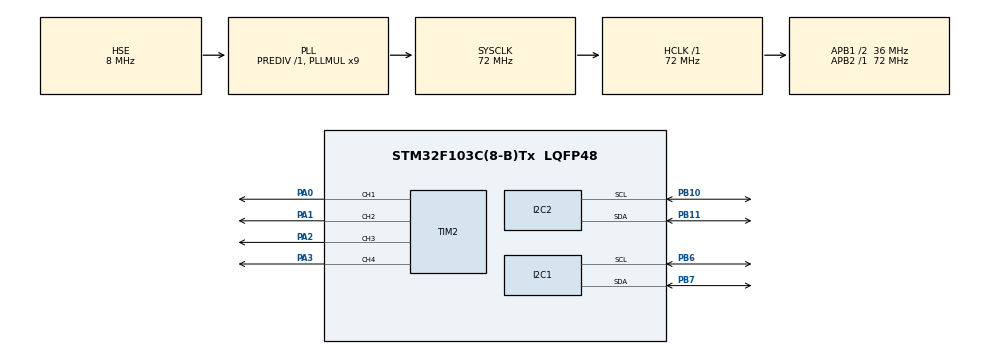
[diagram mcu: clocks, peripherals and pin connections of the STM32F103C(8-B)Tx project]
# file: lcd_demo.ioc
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Mcu.Family=STM32F1
Mcu.Name=STM32F103C(8-B)Tx
Mcu.Package=LQFP48
NVIC.PriorityGroup=NVIC_PRIORITYGROUP_4
PA0-WKUP.Signal=S_TIM2_CH1_ETR
PA1.Signal=S_TIM2_CH2
PA2.Signal=S_TIM2_CH3
PA3.Signal=S_TIM2_CH4
PB10.Mode=I2C
PB10.Signal=I2C2_SCL
PB11.Mode=I2C
PB11.Signal=I2C2_SDA
PB6.Mode=I2C
PB6.Signal=I2C1_SCL
PB7.Mode=I2C
PB7.Signal=I2C1_SDA
PD0-OSC_IN.Mode=HSE-External-Oscillator
PD0-OSC_IN.Signal=RCC_OSC_IN
PD1-OSC_OUT.Mode=HSE-External-Oscillator
PD1-OSC_OUT.Signal=RCC_OSC_OUT
ProjectManager.HeapSize=0x200
ProjectManager.StackSize=0x400
ProjectManager.TargetToolchain=STM32CubeIDE
RCC.AHBFreq_Value=72000000
RCC.APB1CLKDivider=RCC_HCLK_DIV2
RCC.APB1Freq_Value=36000000
RCC.APB1TimFreq_Value=72000000
RCC.APB2Freq_Value=72000000
RCC.APB2TimFreq_Value=72000000
RCC.HCLKFreq_Value=72000000
RCC.PLLMUL=RCC_PLL_MUL9
RCC.PLLSourceVirtual=RCC_PLLSOURCE_HSE
RCC.SYSCLKFreq_VALUE=72000000
RCC.SYSCLKSource=RCC_SYSCLKSOURCE_PLLCLK
RCC.USBFreq_Value=72000000
SH.S_TIM2_CH1_ETR.0=TIM2_CH1,PWM Generation1 CH1
SH.S_TIM2_CH2.0=TIM2_CH2,PWM Generation2 CH2
SH.S_TIM2_CH3.0=TIM2_CH3,PWM Generation3 CH3
SH.S_TIM2_CH4.0=TIM2_CH4,PWM Generation4 CH4
TIM2.AutoReloadPreload=TIM_AUTORELOAD_PRELOAD_ENABLE
TIM2.Channel-PWM\ Generation1\ CH1=TIM_CHANNEL_1
TIM2.Channel-PWM\ Generation2\ CH2=TIM_CHANNEL_2
TIM2.Channel-PWM\ Generation3\ CH3=TIM_CHANNEL_3
TIM2.Channel-PWM\ Generation4\ CH4=TIM_CHANNEL_4
VP_TIM2_VS_ClockSourceINT.Mode=Internal
board=custom

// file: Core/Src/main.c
/* USER CODE BEGIN Header */
/**
  ******************************************************************************
  * @file           : main.c
  * @brief          : Main program body
  ******************************************************************************
  * @attention
  *
  * Copyright (c) 2022 STMicroelectronics.
  * All rights reserved.
  *
  * This software is licensed under terms that can be found in the LICENSE file
  * in the root directory of this software component.
  * If no LICENSE file comes with this software, it is provided AS-IS.
  *
  ******************************************************************************
  */
/* USER CODE END Header */
#include "main.h"

/* USER CODE BEGIN Includes */
#include "liquidcrystal_i2c.h"
#include "stdio.h"
/* USER CODE END Includes */

I2C_HandleTypeDef hi2c1;
I2C_HandleTypeDef hi2c2;

TIM_HandleTypeDef htim2;

void SystemClock_Config(void);
static void MX_GPIO_Init(void);
static void MX_I2C1_Init(void);
static void MX_I2C2_Init(void);
static void MX_TIM2_Init(void);

/* USER CODE BEGIN 0 */
#define MPU6050_ADDR 0xD0

#define SMPLRT_DIV_REG 0x19
#define GYRO_CONFIG_REG 0x1B
#define ACCEL_CONFIG_REG 0x1C
#define ACCEL_XOUT_H_REG 0x3B
#define TEMP_OUT_H_REG 0x41
#define GYRO_XOUT_H_REG 0x43
#define PWR_MGMT_1_REG 0x6B
#define WHO_AM_I_REG 0x75

int16_t uranus = 0;

int16_t Accel_X_RAW = 0;
int16_t Accel_Y_RAW = 0;
int16_t Accel_Z_RAW = 0;

int16_t Gyro_X_RAW = 0;
int16_t Gyro_Y_RAW = 0;
int16_t Gyro_Z_RAW = 0;

float Ax, Ay, Az, Gx, Gy, Gz;

void MPU6050_Init (void)
{
	uint8_t check;
	uint8_t Data;

	// check device ID WHO_AM_I

	HAL_I2C_Mem_Read (&hi2c2, MPU6050_ADDR,WHO_AM_I_REG,1, &check, 1, 1000);

	if (check == 104)  // 0x68 will be returned by the sensor if everything goes well
	{
		// power management register 0X6B we should write all 0's to wake the sensor up
		Data = 0;
		HAL_I2C_Mem_Write(&hi2c2, MPU6050_ADDR, PWR_MGMT_1_REG, 1,&Data, 1, 1000);

		// Set DATA RATE of 1KHz by writing SMPLRT_DIV register
		Data = 0x07;
		HAL_I2C_Mem_Write(&hi2c2, MPU6050_ADDR, SMPLRT_DIV_REG, 1, &Data, 1, 1000);

		// Set accelerometer configuration in ACCEL_CONFIG Register
		// XA_ST=0,YA_ST=0,ZA_ST=0, FS_SEL=0 -> ± 2g
		Data = 0x00;
		HAL_I2C_Mem_Write(&hi2c2, MPU6050_ADDR, ACCEL_CONFIG_REG, 1, &Data, 1, 1000);

		// Set Gyroscopic configuration in GYRO_CONFIG Register
		// XG_ST=0,YG_ST=0,ZG_ST=0, FS_SEL=0 -> ± 250 °/s
		Data = 0x00;
		HAL_I2C_Mem_Write(&hi2c2, MPU6050_ADDR, GYRO_CONFIG_REG, 1, &Data, 1, 1000);
	}

}

void MPU6050_Read_Accel (void)
{
	uint8_t Rec_Data[6];

	// Read 6 BYTES of data starting from ACCEL_XOUT_H register

	HAL_I2C_Mem_Read (&hi2c2, MPU6050_ADDR, ACCEL_XOUT_H_REG, 1, Rec_Data, 6, 1000);

	Accel_X_RAW = (int16_t)(Rec_Data[0] << 8 | Rec_Data [1]);
	Accel_Y_RAW = (int16_t)(Rec_Data[2] << 8 | Rec_Data [3]);
	Accel_Z_RAW = (int16_t)(Rec_Data[4] << 8 | Rec_Data [5]);

	/*** convert the RAW values into acceleration in 'g'
	     we have to divide according to the Full scale value set in FS_SEL
	     I have configured FS_SEL = 0. So I am dividing by 16384.0
	     for more details check ACCEL_CONFIG Register              ****/

	Ax = Accel_X_RAW/16384.0;
	Ay = Accel_Y_RAW/16384.0;
	Az = Accel_Z_RAW/16384.0;
}

void MPU6050_Read_Gyro (void)
{
	uint8_t Rec_Data[6];

	// Read 6 BYTES of data starting from GYRO_XOUT_H register

	HAL_I2C_Mem_Read (&hi2c2, MPU6050_ADDR, GYRO_XOUT_H_REG, 1, Rec_Data, 6, 1000);

	Gyro_X_RAW = (int16_t)(Rec_Data[0] << 8 | Rec_Data [1]);
	Gyro_Y_RAW = (int16_t)(Rec_Data[2] << 8 | Rec_Data [3]);
	Gyro_Z_RAW = (int16_t)(Rec_Data[4] << 8 | Rec_Data [5]);

	/*** convert the RAW values into dps (°/s)
	     we have to divide according to the Full scale value set in FS_SEL
	     I have configured FS_SEL = 0. So I am dividing by 131.0
	     for more details check GYRO_CONFIG Register              ****/

	Gx = Gyro_X_RAW/131.0;
	Gy = Gyro_Y_RAW/131.0;
	Gz = Gyro_Z_RAW/131.0;
}
/* USER CODE END 0 */

int main(void)
{
  /* USER CODE BEGIN 1 */

  int32_t CH1_DC = 0;
  int32_t CH2_DC = 0;
  int32_t CH3_DC = 0;
  int32_t CH4_DC = 0;
  int32_t quar_const = 16383;
  int32_t final_pwm = 0;
  char snum[5];
  float sinatra = -1;
  /* USER CODE END 1 */

  /* MCU Configuration--------------------------------------------------------*/

  /* Reset of all peripherals, Initializes the Flash interface and the Systick. */
  HAL_Init();

  /* Configure the system clock */
  SystemClock_Config();

  /* Initialize all configured peripherals */
  MX_GPIO_Init();
  MX_I2C1_Init();
  MX_I2C2_Init();
  MX_TIM2_Init();
  /* USER CODE BEGIN 2 */
  HAL_TIM_PWM_Start(&htim2, TIM_CHANNEL_1);
  HAL_TIM_PWM_Start(&htim2, TIM_CHANNEL_2);
  HAL_TIM_PWM_Start(&htim2, TIM_CHANNEL_3);
  HAL_TIM_PWM_Start(&htim2, TIM_CHANNEL_4);
  HD44780_Init(2);
  MPU6050_Init();
  /*
  HD44780_Clear();
  HD44780_SetCursor(0,0);
  HD44780_PrintStr("HELLO");
  HD44780_SetCursor(10,1);
  HD44780_PrintStr("WORLD");
  HAL_Delay(2000);

  HD44780_Clear();
  HD44780_SetCursor(0,0);
  HD44780_PrintStr("HELLO");
  HAL_Delay(2000);
  HD44780_NoBacklight();
  HAL_Delay(2000);
  HD44780_Backlight();

  HAL_Delay(2000);
  HD44780_Cursor();
  HAL_Delay(2000);
  HD44780_Blink();
  HAL_Delay(5000);
  HD44780_NoBlink();
  HAL_Delay(2000);
  HD44780_NoCursor();
  HAL_Delay(2000);

  HD44780_NoDisplay();
  HAL_Delay(2000);
  HD44780_Display();

  HD44780_Clear();
  HD44780_SetCursor(0,0);
  HD44780_PrintStr("Done");
  */
  /*
  int x;
  for(int x=0; x<40; x=x+1)
  {
    HD44780_ScrollDisplayLeft();  //HD44780_ScrollDisplayRight();
    HAL_Delay(500);
  }

  for ( int x = 1; x <= 200 ; x++ )
  {
    itoa(x, snum, 10);
    HD44780_Clear();
    HD44780_SetCursor(0,0);
    HD44780_PrintStr(snum);
    HAL_Delay (1000);
  }
  */
  /* USER CODE END 2 */

  /* Infinite loop */
  while (1)
  {

    /* USER CODE BEGIN 3 */
	  // read the Accelerometer and Gyro values

	  MPU6050_Read_Accel();
	  MPU6050_Read_Gyro();

	  HD44780_Clear();

	  /*

	  HD44780_SetCursor(0,0);
	  snprintf(snum, 7, "%.2f", Ax);
	  HD44780_PrintStr(snum);

	  HD44780_SetCursor(5,0);
	  snprintf(snum, 7, "%.2f", Ay);
	  HD44780_PrintStr(snum);

	  HD44780_SetCursor(11,0);
	  snprintf(snum, 7, "%.2f", Az);
	  HD44780_PrintStr(snum);

	  */

	  HD44780_SetCursor(0,1);
	  snprintf(snum, 7, "%d", ((32767 + ((Accel_X_RAW - Accel_Y_RAW) * 4))));
	  HD44780_PrintStr(snum);

	  HD44780_SetCursor(8,1);
	  snprintf(snum, 7, "%d", Accel_Y_RAW);
	  HD44780_PrintStr(snum);

	  HAL_Delay(20);
	  /*

	  HD44780_SetCursor(0,1);
	  snprintf(snum, 7, "%.2f", Gx);
	  HD44780_PrintStr(snum);

	  HD44780_SetCursor(5,1);
	  snprintf(snum, 7, "%.2f", Gy);
	  HD44780_PrintStr(snum);

	  HD44780_SetCursor(11,1);
	  snprintf(snum, 7, "%.2f", Gz);
	  HD44780_PrintStr(snum);

	*/

	  TIM2->CCR1 = (32767 + ((Accel_X_RAW - Accel_Y_RAW) * 4));

	  TIM2->CCR2 = (32767 + ((-Accel_X_RAW - Accel_Y_RAW) * 4));

	  TIM2->CCR3 = (32767 + ((Accel_X_RAW + Accel_Y_RAW) * 4));

	  TIM2->CCR4 = (32767 + ((-Accel_X_RAW + Accel_Y_RAW) * 4));

	  /*

      while(sinatra < 1)
      {
    	  TIM2->CCR1 = (32676 + (sinatra * 32676));
          TIM2->CCR2 = CH1_DC;
          TIM2->CCR3 = CH1_DC;
          TIM2->CCR4 = CH1_DC;
          sinatra += .001;
          //HAL_Delay(1);
      }
      while(sinatra > -1)
      {
    	  TIM2->CCR1 = (32676 + (sinatra * 32676));
    	  TIM2->CCR2 = CH1_DC;
    	  TIM2->CCR3 = CH1_DC;
    	  TIM2->CCR4 = CH1_DC;
          CH1_DC -= .001;
          //HAL_Delay(1);
      }

		*/

	  // print the Acceleration and Gyro values on the LCD 20x4
	  /* KNOCKOUT
	  lcd_send_cmd (0x80|0x00);  // goto 1,1
	  lcd_send_string ("Ax=");
	  sprintf (buf, "%.2f", Ax);
	  lcd_send_string (buf);
	  lcd_send_string ("g ");

	  lcd_send_cmd (0x80|0x40);  // goto 2,1
	  lcd_send_string ("Ay=");
	  sprintf (buf, "%.2f", Ay);
	  lcd_send_string (buf);
	  lcd_send_string ("g ");

	  lcd_send_cmd (0x80|0x14);  // goto 3,1
	  lcd_send_string ("Az=");
	  sprintf (buf, "%.2f", Az);
	  lcd_send_string (buf);
	  lcd_send_string ("g ");

	  lcd_send_cmd (0x80|0x0A);  // goto 1,11
	  lcd_send_string ("Gx=");
	  sprintf (buf, "%.2f", Gx);
	  lcd_send_string (buf);

	  lcd_send_cmd (0x80|0x4A);  // goto 2,11
	  lcd_send_string ("Gy=");
	  sprintf (buf, "%.2f", Gy);
	  lcd_send_string (buf);

	  lcd_send_cmd (0x80|0x1E);  // goto 3,11
	  lcd_send_string ("Gz=");
	  sprintf (buf, "%.2f", Gz);
	  lcd_send_string (buf);

	  HAL_Delay (250);  // wait for a while
	  KNOCKOUT */
  }
  /* USER CODE END 3 */
}

void SystemClock_Config(void)
{
  RCC_OscInitTypeDef RCC_OscInitStruct = {0};
  RCC_ClkInitTypeDef RCC_ClkInitStruct = {0};

  /** Initializes the RCC Oscillators according to the specified parameters
  * in the RCC_OscInitTypeDef structure.
  */
  RCC_OscInitStruct.OscillatorType = RCC_OSCILLATORTYPE_HSE;
  RCC_OscInitStruct.HSEState = RCC_HSE_ON;
  RCC_OscInitStruct.HSEPredivValue = RCC_HSE_PREDIV_DIV1;
  RCC_OscInitStruct.HSIState = RCC_HSI_ON;
  RCC_OscInitStruct.PLL.PLLState = RCC_PLL_ON;
  RCC_OscInitStruct.PLL.PLLSource = RCC_PLLSOURCE_HSE;
  RCC_OscInitStruct.PLL.PLLMUL = RCC_PLL_MUL9;
  if (HAL_RCC_OscConfig(&RCC_OscInitStruct) != HAL_OK)
  {
    Error_Handler();
  }

  /** Initializes the CPU, AHB and APB buses clocks
  */
  RCC_ClkInitStruct.ClockType = RCC_CLOCKTYPE_HCLK|RCC_CLOCKTYPE_SYSCLK
                              |RCC_CLOCKTYPE_PCLK1|RCC_CLOCKTYPE_PCLK2;
  RCC_ClkInitStruct.SYSCLKSource = RCC_SYSCLKSOURCE_PLLCLK;
  RCC_ClkInitStruct.AHBCLKDivider = RCC_SYSCLK_DIV1;
  RCC_ClkInitStruct.APB1CLKDivider = RCC_HCLK_DIV2;
  RCC_ClkInitStruct.APB2CLKDivider = RCC_HCLK_DIV1;

  if (HAL_RCC_ClockConfig(&RCC_ClkInitStruct, FLASH_LATENCY_2) != HAL_OK)
  {
    Error_Handler();
  }
}

static void MX_I2C1_Init(void)
{

  hi2c1.Instance = I2C1;
  hi2c1.Init.ClockSpeed = 100000;
  hi2c1.Init.DutyCycle = I2C_DUTYCYCLE_2;
  hi2c1.Init.OwnAddress1 = 0;
  hi2c1.Init.AddressingMode = I2C_ADDRESSINGMODE_7BIT;
  hi2c1.Init.DualAddressMode = I2C_DUALADDRESS_DISABLE;
  hi2c1.Init.OwnAddress2 = 0;
  hi2c1.Init.GeneralCallMode = I2C_GENERALCALL_DISABLE;
  hi2c1.Init.NoStretchMode = I2C_NOSTRETCH_DISABLE;
  if (HAL_I2C_Init(&hi2c1) != HAL_OK)
  {
    Error_Handler();
  }

}

static void MX_I2C2_Init(void)
{

  hi2c2.Instance = I2C2;
  hi2c2.Init.ClockSpeed = 100000;
  hi2c2.Init.DutyCycle = I2C_DUTYCYCLE_2;
  hi2c2.Init.OwnAddress1 = 0;
  hi2c2.Init.AddressingMode = I2C_ADDRESSINGMODE_7BIT;
  hi2c2.Init.DualAddressMode = I2C_DUALADDRESS_DISABLE;
  hi2c2.Init.OwnAddress2 = 0;
  hi2c2.Init.GeneralCallMode = I2C_GENERALCALL_DISABLE;
  hi2c2.Init.NoStretchMode = I2C_NOSTRETCH_DISABLE;
  if (HAL_I2C_Init(&hi2c2) != HAL_OK)
  {
    Error_Handler();
  }

}

static void MX_TIM2_Init(void)
{

  TIM_ClockConfigTypeDef sClockSourceConfig = {0};
  TIM_MasterConfigTypeDef sMasterConfig = {0};
  TIM_OC_InitTypeDef sConfigOC = {0};

  htim2.Instance = TIM2;
  htim2.Init.Prescaler = 0;
  htim2.Init.CounterMode = TIM_COUNTERMODE_UP;
  htim2.Init.Period = 65535;
  htim2.Init.ClockDivision = TIM_CLOCKDIVISION_DIV1;
  htim2.Init.AutoReloadPreload = TIM_AUTORELOAD_PRELOAD_ENABLE;
  if (HAL_TIM_Base_Init(&htim2) != HAL_OK)
  {
    Error_Handler();
  }
  sClockSourceConfig.ClockSource = TIM_CLOCKSOURCE_INTERNAL;
  if (HAL_TIM_ConfigClockSource(&htim2, &sClockSourceConfig) != HAL_OK)
  {
    Error_Handler();
  }
  if (HAL_TIM_PWM_Init(&htim2) != HAL_OK)
  {
    Error_Handler();
  }
  sMasterConfig.MasterOutputTrigger = TIM_TRGO_RESET;
  sMasterConfig.MasterSlaveMode = TIM_MASTERSLAVEMODE_DISABLE;
  if (HAL_TIMEx_MasterConfigSynchronization(&htim2, &sMasterConfig) != HAL_OK)
  {
    Error_Handler();
  }
  sConfigOC.OCMode = TIM_OCMODE_PWM1;
  sConfigOC.Pulse = 0;
  sConfigOC.OCPolarity = TIM_OCPOLARITY_HIGH;
  sConfigOC.OCFastMode = TIM_OCFAST_DISABLE;
  if (HAL_TIM_PWM_ConfigChannel(&htim2, &sConfigOC, TIM_CHANNEL_1) != HAL_OK)
  {
    Error_Handler();
  }
  if (HAL_TIM_PWM_ConfigChannel(&htim2, &sConfigOC, TIM_CHANNEL_2) != HAL_OK)
  {
    Error_Handler();
  }
  if (HAL_TIM_PWM_ConfigChannel(&htim2, &sConfigOC, TIM_CHANNEL_3) != HAL_OK)
  {
    Error_Handler();
  }
  if (HAL_TIM_PWM_ConfigChannel(&htim2, &sConfigOC, TIM_CHANNEL_4) != HAL_OK)
  {
    Error_Handler();
  }
  HAL_TIM_MspPostInit(&htim2);

}

static void MX_GPIO_Init(void)
{

  /* GPIO Ports Clock Enable */
  __HAL_RCC_GPIOD_CLK_ENABLE();
  __HAL_RCC_GPIOA_CLK_ENABLE();
  __HAL_RCC_GPIOB_CLK_ENABLE();

}

void Error_Handler(void)
{
  __disable_irq();
  while (1)
  {
  }
}
